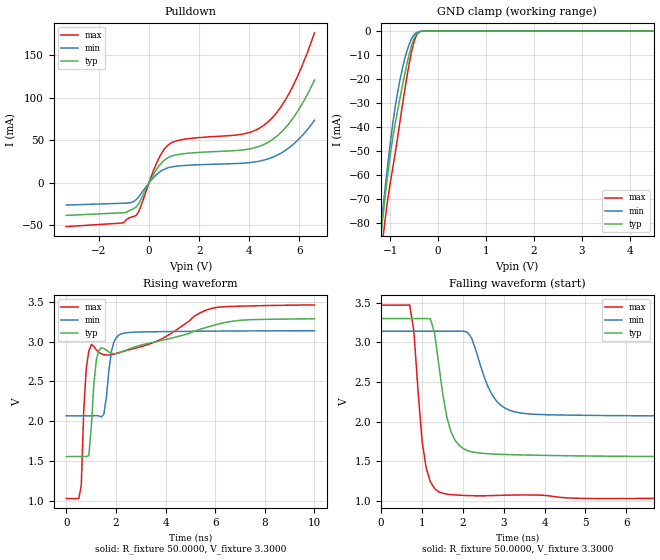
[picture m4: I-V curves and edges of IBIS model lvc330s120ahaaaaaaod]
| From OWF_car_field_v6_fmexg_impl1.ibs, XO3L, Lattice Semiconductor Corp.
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[Model]   lvc330s120ahaaaaaaod
Model_type   I/O_open_drain
Polarity   Non-Inverting
Enable   Active-Low
Vinl =   0.8000V
Vinh =   2.0000V
Vmeas =   1.6500V
Cref =   0.0F
Rref =   1.0000M
Vref =   0.0V
C_comp   4.2000pF   3.8000pF   7.5000pF
[Temperature Range]   25.0000   0.1050k   -40.0000
[Voltage Range]   3.3000V   3.1400V   3.4700V
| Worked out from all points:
|   slope of the pulldown table from 0 to 0.495 V, typ, clamps not added: 21.2 ohm
|   GND clamp passes 1 mA (typ) near -0.44 V on its own axis
|   rising waveform, R_fixture 50.0000, V_fixture 3.3000: 20-80 % time 1.84ns typ, 250ps min, 2.76ns max; typ from 1.56 V to 3.29 V
|   falling waveform, R_fixture 50.0000, V_fixture 3.3000: 20-80 % time 340ps typ, 489ps min, 250ps max; typ from 3.3 V to 1.56 V
[Pulldown]
|Voltage   I(typ)   I(min)   I(max)
-3.3V     -38.32mA   -26.11mA   -51.47mA
-1.1V     -35.26mA   -24.04mA   -47.36mA
-500mV    -28.13mA   -19.55mA   -37.97mA
400mV     19.95mA    12.24mA    29.35mA
600mV     26.4mA     15.93mA    39.3mA
900mV     31.58mA    18.8mA     47.29mA
3.8V      39.03mA    23.32mA    57.84mA
4.6V      45.48mA    26.93mA    68.21mA
5.1V      55.01mA    32.4mA     82.97mA
5.6V      70.52mA    41.65mA    106mA
6.1V      92.55mA    55.32mA    137.4mA
6.6V      121.1mA    73.73mA    176.7mA
[GND_clamp]
|Voltage   I(typ)   I(min)   I(max)
-3.3V     -955.3mA   -930.3mA   -978mA
-1.2V     -86.16mA   -82.91mA   -94.88mA
-1.15V    -76.71mA   -73.27mA   -85.71mA
-1.1V     -67.69mA   -63.93mA   -77.25mA
-1V       -51.49mA   -46.56mA   -63.18mA
-900mV    -38.84mA   -31.87mA   -51.23mA
-800mV    -28.23mA   -20.57mA   -37.94mA
-700mV    -18.08mA   -11.62mA   -24.79mA
-600mV    -9.254mA   -5.257mA   -13.04mA
-450mV    -1.176mA   -584.6uA   -1.582mA
-250mV    -3.498uA   -4.034uA   -2.958uA
6.6V      0A         0A         0A
[Ramp]
| variable   typ   min   max
dV/dt_r  1.0442/0.2563n   0.6422/0.2478n   1.4616/2.7300n
dV/dt_f  1.0449/0.3362n   0.6422/0.4839n   1.4640/0.2471n
R_load = 50.0000
[Rising Waveform]
R_fixture=   50.0000
V_fixture=   3.3000
V_fixture_min=   3.1400
V_fixture_max=   3.4700
|time   V(typ)   V(min)   V(max)
0s        1.556V     2.068V     1.027V
606.1ps   1.556V     2.068V     1.192V
808.1ps   1.554V     2.068V     2.67V
1.01ns    1.925V     2.067V     2.965V
1.212ns   2.768V     2.07V      2.898V
1.414ns   2.925V     2.053V     2.847V
1.818ns   2.856V     2.878V     2.837V
2.222ns   2.869V     3.099V     2.872V
5.859ns   3.199V     3.133V     3.419V
10ns      3.289V     3.138V     3.463V
[Falling Waveform]
R_fixture=   50.0000
V_fixture=   3.3000
V_fixture_min=   3.1400
V_fixture_max=   3.4700
|time   V(typ)   V(min)   V(max)
0s        3.3V       3.14V      3.47V
707.1ps   3.3V       3.14V      3.472V
1.111ns   3.3V       3.14V      1.415V
1.313ns   3.124V     3.14V      1.158V
1.414ns   2.737V     3.14V      1.117V
1.717ns   1.871V     3.14V      1.082V
2.222ns   1.621V     3.051V     1.067V
2.727ns   1.593V     2.333V     1.069V
3.232ns   1.584V     2.13V      1.076V
10ns      1.558V     2.07V      1.03V
